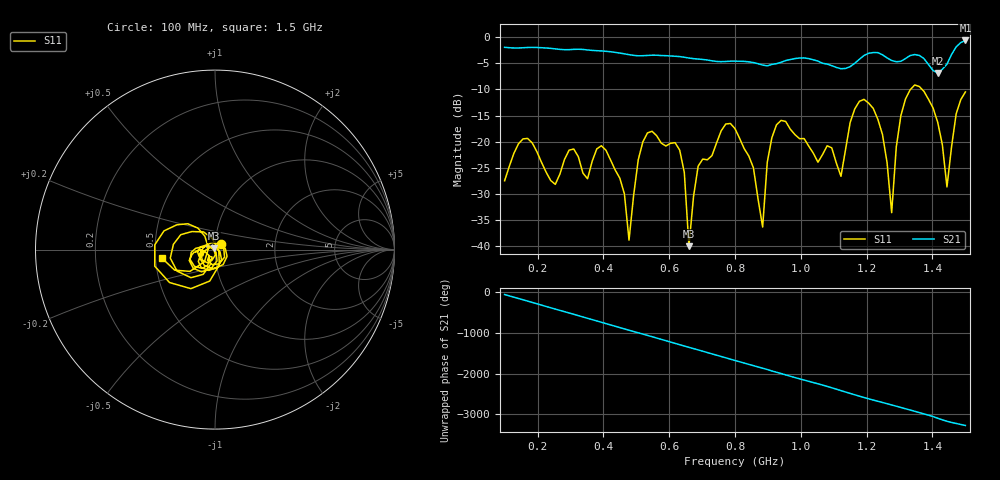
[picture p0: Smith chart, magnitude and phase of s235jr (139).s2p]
! NanoVNA-App
! Date: 2025-09-25 15:05:15
! Start: 100MHz Stop: 1,5GHz Points: 101
! S-Parameter data: F S11 S21 S12 S22
# Hz S RI R 50
!  Frequency  S11_Real  S11_Imag  S21_Real  S21_Imag  S12_Real  S12_Imag  S22_Real  S22_Imag
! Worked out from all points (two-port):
!   101 points, 100 MHz to 1.5 GHz, reference 50 ohm
!   highest |S21| = -0.65 dB at 1.5 GHz (marker M1); lowest = -6.9 dB at 1.416 GHz (marker M2)
!   |S21| within 3 dB of the highest: start of sweep to 613.5 MHz; 1.19 GHz to 1.254 GHz (64.58 MHz wide, 5.29 % of centre) (the widest 2 of 4)
!   lowest |S11| = -40.0 dB at 660 MHz (marker M3), VSWR 1.02, Z = 49.2 + j0.611 ohm
!   |S11| at or under -10 dB: start of sweep to 1.333 GHz; 1.368 GHz to end of sweep
!   S12 and S22 are empty: the file has one direction only
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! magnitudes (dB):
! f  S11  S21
! 100 MHz  -27.5  -2.0
! 156 MHz  -19.5  -2.0
! 338 MHz  -26.0  -2.4
! 408 MHz  -21.6  -2.7
! 478 MHz  -38.8  -3.4
! 520 MHz  -20.0  -3.6
! 576 MHz  -20.3  -3.5
! 632 MHz  -21.6  -3.7
! 660 MHz  -40.0  -4.0
! 688 MHz  -24.7  -4.2
! 800 MHz  -17.5  -4.6
! 884 MHz  -36.3  -5.4
! 926 MHz  -16.8  -5.1
! 1.038 GHz  -22.2  -4.3
! 1.122 GHz  -26.6  -6.1
! 1.192 GHz  -11.9  -3.5
! 1.248 GHz  -18.6  -3.4
! 1.276 GHz  -33.6  -4.5
! 1.332 GHz  -10.1  -3.5
! 1.416 GHz  -16.3  -6.9
! 1.444 GHz  -28.7  -5.2
! 1.5 GHz  -10.5  -0.7
